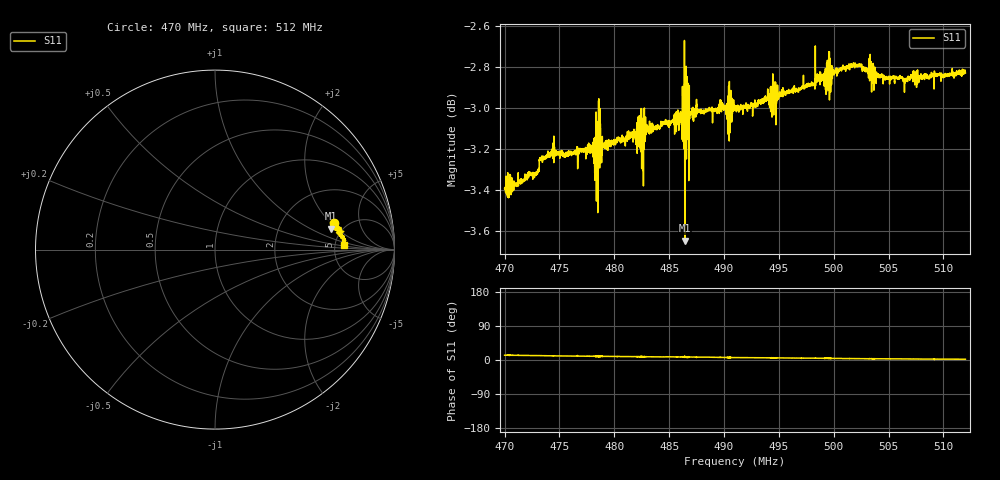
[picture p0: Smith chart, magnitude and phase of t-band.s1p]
! Calibrated averaged scanner-service zoom
# Hz S RI R 50
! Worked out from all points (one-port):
!   4001 points, 470 MHz to 512 MHz, reference 50 ohm
!   lowest |S11| = -3.6 dB at 486.4 MHz (marker M1), VSWR 4.83, Z = 205 + j84.4 ohm
!   |S11| at or under -10 dB: nowhere
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4.7e8  0.6603 0.148
4.72856e8  0.6686 0.1393
4.733705e8  0.6748 0.1363
4.741055e8  0.6771 0.1336
4.7525e8  0.6791 0.1276
4.783265e8  0.676 0.1316
4.78547e8  0.6921 0.1218
4.789775e8  0.6835 0.1165
4.805e8  0.6863 0.1111
4.821905e8  0.6879 0.105
4.825055e8  0.6852 0.0901
4.82873e8  0.6914 0.1034
4.83902e8  0.6924 0.1008
4.849205e8  0.6945 0.1032
4.8575e8  0.6957 0.1016
4.86422e8  0.6468 0.1168
4.8869e8  0.7012 0.0907
4.902335e8  0.7033 0.083
4.91e8  0.7033 0.0782
4.942865e8  0.7127 0.0738
4.94717e8  0.7104 0.0624
4.9625e8  0.7119 0.0646
4.995155e8  0.717 0.0569
5.015e8  0.7233 0.0473
5.0234e8  0.7242 0.045
5.036525e8  0.7194 0.0437
5.0675e8  0.7187 0.036
5.12e8  0.7215 0.0257
